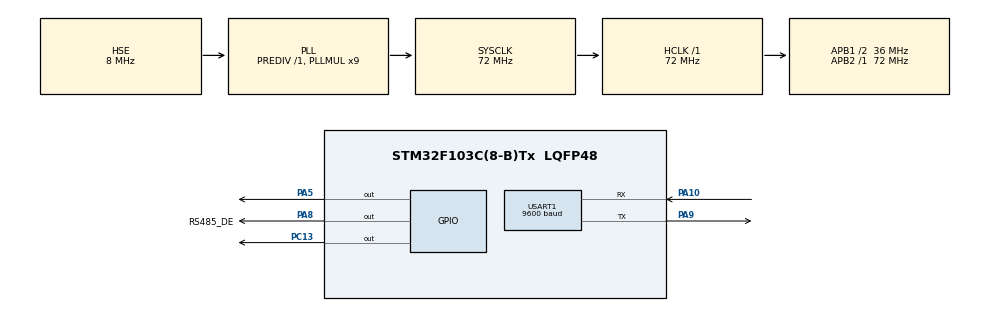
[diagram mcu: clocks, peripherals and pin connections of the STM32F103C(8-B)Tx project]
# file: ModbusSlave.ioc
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Dma.Request0=USART1_RX
Dma.USART1_RX.0.Direction=DMA_PERIPH_TO_MEMORY
Dma.USART1_RX.0.Instance=DMA1_Channel5
Dma.USART1_RX.0.MemDataAlignment=DMA_MDATAALIGN_BYTE
Dma.USART1_RX.0.MemInc=DMA_MINC_ENABLE
Dma.USART1_RX.0.Mode=DMA_NORMAL
Dma.USART1_RX.0.PeriphDataAlignment=DMA_PDATAALIGN_BYTE
Dma.USART1_RX.0.PeriphInc=DMA_PINC_DISABLE
Dma.USART1_RX.0.Priority=DMA_PRIORITY_LOW
Mcu.Family=STM32F1
Mcu.Name=STM32F103C(8-B)Tx
Mcu.Package=LQFP48
NVIC.DMA1_Channel5_IRQn=true\:0\:0\:false\:false\:true\:false\:true\:true
NVIC.PriorityGroup=NVIC_PRIORITYGROUP_4
NVIC.TIM2_IRQn=true\:0\:0\:false\:false\:true\:true\:true\:true
NVIC.USART1_IRQn=true\:0\:0\:false\:false\:true\:true\:true\:true
PA10.Mode=Asynchronous
PA10.Signal=USART1_RX
PA13.Mode=Serial_Wire
PA13.Signal=SYS_JTMS-SWDIO
PA14.Mode=Serial_Wire
PA14.Signal=SYS_JTCK-SWCLK
PA5.Signal=GPIO_Output
PA8.GPIO_Label=RS485_DE
PA8.Signal=GPIO_Output
PA9.Mode=Asynchronous
PA9.Signal=USART1_TX
PC13-TAMPER-RTC.Signal=GPIO_Output
PC14-OSC32_IN.Mode=LSE-External-Oscillator
PC14-OSC32_IN.Signal=RCC_OSC32_IN
PC15-OSC32_OUT.Mode=LSE-External-Oscillator
PC15-OSC32_OUT.Signal=RCC_OSC32_OUT
PD0-OSC_IN.Mode=HSE-External-Oscillator
PD0-OSC_IN.Signal=RCC_OSC_IN
PD1-OSC_OUT.Mode=HSE-External-Oscillator
PD1-OSC_OUT.Signal=RCC_OSC_OUT
ProjectManager.HeapSize=0x200
ProjectManager.StackSize=0x400
ProjectManager.TargetToolchain=MDK-ARM V5.32
RCC.AHBFreq_Value=72000000
RCC.APB1CLKDivider=RCC_HCLK_DIV2
RCC.APB1Freq_Value=36000000
RCC.APB1TimFreq_Value=72000000
RCC.APB2Freq_Value=72000000
RCC.APB2TimFreq_Value=72000000
RCC.HCLKFreq_Value=72000000
RCC.PLLMUL=RCC_PLL_MUL9
RCC.PLLSourceVirtual=RCC_PLLSOURCE_HSE
RCC.SYSCLKFreq_VALUE=72000000
RCC.SYSCLKSource=RCC_SYSCLKSOURCE_PLLCLK
RCC.USBFreq_Value=72000000
TIM2.Period=9999
TIM2.Prescaler=71
USART1.BaudRate=9600
USART1.VirtualMode=VM_ASYNC
VP_TIM2_VS_ClockSourceINT.Mode=Internal
board=custom

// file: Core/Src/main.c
/* USER CODE BEGIN Header */
/**
  ******************************************************************************
  * @file           : main.c
  * @brief          : Main program body
  ******************************************************************************
  * @attention
  *
  * Copyright (c) 2026 STMicroelectronics.
  * All rights reserved.
  *
  * This software is licensed under terms that can be found in the LICENSE file
  * in the root directory of this software component.
  * If no LICENSE file comes with this software, it is provided AS-IS.
  *
  ******************************************************************************
  */
/* USER CODE END Header */
#include "main.h"
#include "dma.h"
#include "tim.h"
#include "usart.h"
#include "gpio.h"

/* USER CODE BEGIN Includes */
#include "modbus.h"
#include "dht11_hal.h"
#include "dht11.h"
#include <string.h>
#include <stdio.h>
/* USER CODE END Includes */

/* USER CODE BEGIN PV */
extern uint16_t input_reg[REG_INPUT_NUM];
extern uint8_t  coil_reg[COIL_NUM];
extern uint8_t discrete_input[DISCRETE_NUM];

/* USER CODE END PV */

void SystemClock_Config(void);

int main(void)
{

  /* MCU Configuration--------------------------------------------------------*/

  /* Reset of all peripherals, Initializes the Flash interface and the Systick. */
  HAL_Init();

  /* Configure the system clock */
  SystemClock_Config();

  /* Initialize all configured peripherals */
  MX_GPIO_Init();
  MX_DMA_Init();
  MX_USART1_UART_Init();
  MX_TIM2_Init();
  /* USER CODE BEGIN 2 */
	//初始化modbus
	modbus_init(&huart1,&hdma_usart1_rx);
	// 先给寄存器手动赋固定值，验证读鿚�?
	hold_reg[0] = 1234;
	hold_reg[1] = 5678;
	input_reg[0]   = 9999;

	uint8_t test_frame[] = {0x01, 0x03, 0x00, 0x00, 0x00, 0x01};
	//uint8_t test_frame[] = {0x01,0x03,0x00, 0x00,0x00,0x02};
	uint16_t crc = modbus_crc16(test_frame, 6);
	// 调试：打印实�? CRC �?
char debug_buf[32];
sprintf(debug_buf, "crc=0x%04X\r\n", crc);
HAL_UART_Transmit(&huart1, (uint8_t*)debug_buf, strlen(debug_buf), HAL_MAX_DELAY);
	// 正确结果：crc == 0x840A
		// 低字�? 0x0A，高字节 0x84
		if (crc == 0x0A84) {
				// CRC正确，亮�?
				HAL_GPIO_WritePin(GPIOA, GPIO_PIN_5, GPIO_PIN_SET);
			//HAL_UART_Transmit(&huart1,"crc=0x840A",sizeof("crc=0x840A"),HAL_MAX_DELAY);
		} else {
				// CRC错误，快速闪烁报�?
				while(1) {
						HAL_GPIO_TogglePin(GPIOA, GPIO_PIN_5);
						HAL_Delay(100);
				}
		}

  /* USER CODE END 2 */

  /* Infinite loop */
  /* USER CODE BEGIN WHILE */
//		//DWT CYCCNT测试代码
//		dht11_hal_delay_init();//初始�?
//		uint32_t start=DWT->CYCCNT;
//		dht11_hal_delay_us(20);
//		uint32_t delay_result=DWT->CYCCNT-start;
//		char ch[20];
//		sprintf(ch,"take %u ticks %u us",delay_result,delay_result/(SystemCoreClock/1000000));
//		HAL_UART_Transmit(&huart1,(uint8_t*)ch,strlen(ch),1000);
		//dht11_hal_delay_init();
		dht11_hal_delay_init();
//		DHT11_Data_t DHT11;
//
//		dht11_read(&DHT11);
//		uint8_t res[2];
//		res[0]=DHT11.humi_int;
//		res[1]=DHT11.temp_int;
//		char ch[20];
//		sprintf(ch,"temp:%d,humi:%d",res[1],res[0]);
//		HAL_UART_Transmit(&huart1,(uint8_t*)ch,strlen(ch),1000);

		uint32_t last_time=0;
		DHT11_Data_t DHT11;
  while (1)
  {
			modbus_poll();
		if(HAL_GetTick()-last_time>2000)
		{
			//2sdht11读一次数�?
			if(dht11_read(&DHT11)==DHT11_OK)
			{
				//读取到数据，写入寄存�?
				hold_reg[0]=(DHT11.humi_int<<8)|DHT11.humi_dec;
				hold_reg[1]=(DHT11.	temp_int<<8)|DHT11.temp_dec;
			}
			last_time = HAL_GetTick();
		}
    /* USER CODE END WHILE */

  }
}

void SystemClock_Config(void)
{
  RCC_OscInitTypeDef RCC_OscInitStruct = {0};
  RCC_ClkInitTypeDef RCC_ClkInitStruct = {0};

  /** Initializes the RCC Oscillators according to the specified parameters
  * in the RCC_OscInitTypeDef structure.
  */
  RCC_OscInitStruct.OscillatorType = RCC_OSCILLATORTYPE_HSE;
  RCC_OscInitStruct.HSEState = RCC_HSE_ON;
  RCC_OscInitStruct.HSEPredivValue = RCC_HSE_PREDIV_DIV1;
  RCC_OscInitStruct.HSIState = RCC_HSI_ON;
  RCC_OscInitStruct.PLL.PLLState = RCC_PLL_ON;
  RCC_OscInitStruct.PLL.PLLSource = RCC_PLLSOURCE_HSE;
  RCC_OscInitStruct.PLL.PLLMUL = RCC_PLL_MUL9;
  if (HAL_RCC_OscConfig(&RCC_OscInitStruct) != HAL_OK)
  {
    Error_Handler();
  }

  /** Initializes the CPU, AHB and APB buses clocks
  */
  RCC_ClkInitStruct.ClockType = RCC_CLOCKTYPE_HCLK|RCC_CLOCKTYPE_SYSCLK
                              |RCC_CLOCKTYPE_PCLK1|RCC_CLOCKTYPE_PCLK2;
  RCC_ClkInitStruct.SYSCLKSource = RCC_SYSCLKSOURCE_PLLCLK;
  RCC_ClkInitStruct.AHBCLKDivider = RCC_SYSCLK_DIV1;
  RCC_ClkInitStruct.APB1CLKDivider = RCC_HCLK_DIV2;
  RCC_ClkInitStruct.APB2CLKDivider = RCC_HCLK_DIV1;

  if (HAL_RCC_ClockConfig(&RCC_ClkInitStruct, FLASH_LATENCY_2) != HAL_OK)
  {
    Error_Handler();
  }
}

void Error_Handler(void)
{
  __disable_irq();
  while (1)
  {
  }
}
